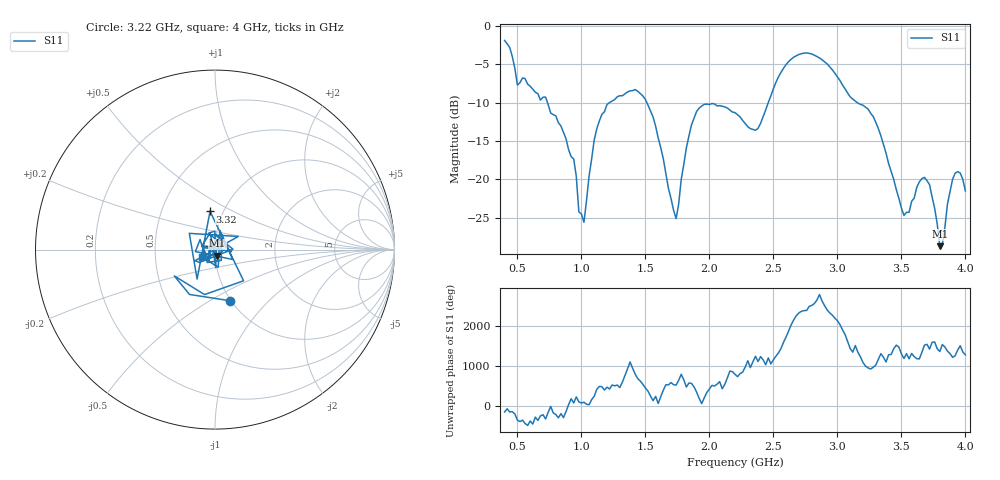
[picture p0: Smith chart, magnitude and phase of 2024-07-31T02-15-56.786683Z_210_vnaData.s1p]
!Created with skrf (http://scikit-rf.org).
# Hz S RI R 50.0
!freq ReS11 ImS11
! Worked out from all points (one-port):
!   181 points, 400 MHz to 4 GHz, reference 50 ohm
!   lowest |S11| = -28.7 dB at 3.8 GHz (marker M1), VSWR 1.08, Z = 51.3 - j3.5 ohm
!   |S11| at or under -10 dB: 735.5 MHz to 1.217 GHz (481.8 MHz wide, 49.3 % of centre); 1.512 GHz to 2.459 GHz (947.5 MHz wide, 47.7 % of centre); 3.157 GHz to end of sweep
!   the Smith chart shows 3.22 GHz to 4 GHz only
!   S11 on the Smith chart (normalised r, x): 3.22 GHz: 0.99, -0.62; 3.32 GHz: 0.87, +0.39; 4 GHz: 0.86, -0.07
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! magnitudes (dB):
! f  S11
! 400 MHz  -1.9
! 500 MHz  -7.7
! 720 MHz  -9.3
! 860 MHz  -13.9
! 940 MHz  -17.3
! 980 MHz  -24.2
! 1.02 GHz  -25.6
! 1.12 GHz  -13.4
! 1.3 GHz  -9.1
! 1.5 GHz  -9.6
! 1.74 GHz  -25.1
! 1.76 GHz  -23.2
! 1.82 GHz  -15.9
! 1.9 GHz  -11.1
! 2.2 GHz  -11.3
! 2.38 GHz  -13.3
! 2.66 GHz  -4.0
! 2.86 GHz  -4.1
! 3.1 GHz  -9.2
! 3.22 GHz  -10.6
! 3.32 GHz  -13.4
! 3.52 GHz  -24.7
! 3.56 GHz  -24.3
! 3.68 GHz  -19.7
! 3.72 GHz  -20.7
! 3.8 GHz  -28.7
! 3.92 GHz  -19.2
! 4 GHz  -21.5
